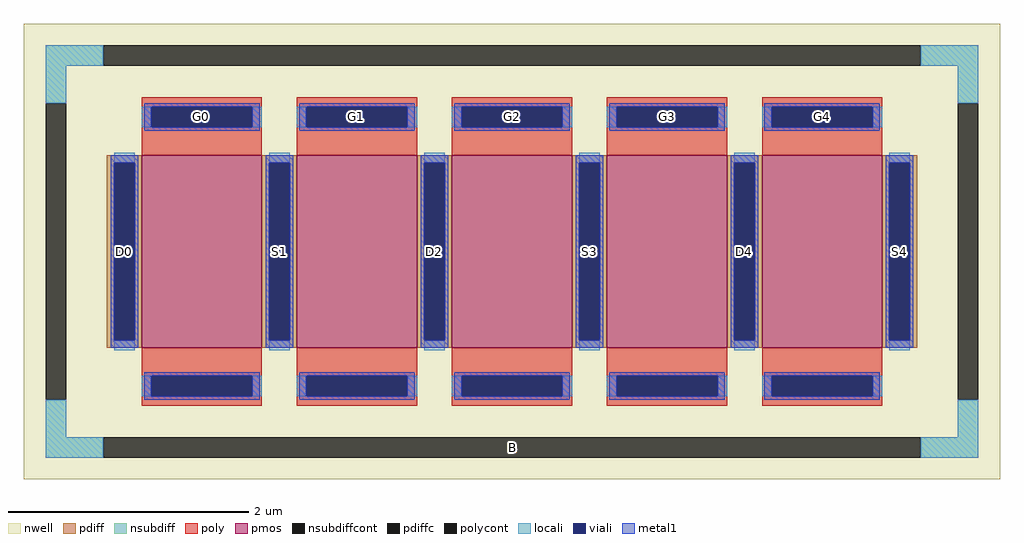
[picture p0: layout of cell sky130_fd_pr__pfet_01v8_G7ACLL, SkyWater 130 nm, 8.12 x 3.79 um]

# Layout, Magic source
magic
tech sky130A
magscale 1 2
<< nwell >>
rect -812 -379 812 379
<< pmos >>
rect -616 -160 -416 160
rect -358 -160 -158 160
rect -100 -160 100 160
rect 158 -160 358 160
rect 416 -160 616 160
<< pdiff >>
rect -674 148 -616 160
rect -674 -148 -662 148
rect -628 -148 -616 148
rect -674 -160 -616 -148
rect -416 148 -358 160
rect -416 -148 -404 148
rect -370 -148 -358 148
rect -416 -160 -358 -148
rect -158 148 -100 160
rect -158 -148 -146 148
rect -112 -148 -100 148
rect -158 -160 -100 -148
rect 100 148 158 160
rect 100 -148 112 148
rect 146 -148 158 148
rect 100 -160 158 -148
rect 358 148 416 160
rect 358 -148 370 148
rect 404 -148 416 148
rect 358 -160 416 -148
rect 616 148 674 160
rect 616 -148 628 148
rect 662 -148 674 148
rect 616 -160 674 -148
<< pdiffc >>
rect -662 -148 -628 148
rect -404 -148 -370 148
rect -146 -148 -112 148
rect 112 -148 146 148
rect 370 -148 404 148
rect 628 -148 662 148
<< nsubdiff >>
rect -776 309 -680 343
rect 680 309 776 343
rect -776 247 -742 309
rect 742 247 776 309
rect -776 -309 -742 -247
rect 742 -309 776 -247
rect -776 -343 -680 -309
rect 680 -343 776 -309
<< nsubdiffcont >>
rect -680 309 680 343
rect -776 -247 -742 247
rect 742 -247 776 247
rect -680 -343 680 -309
<< poly >>
rect -616 241 -416 257
rect -616 207 -600 241
rect -432 207 -416 241
rect -616 160 -416 207
rect -358 241 -158 257
rect -358 207 -342 241
rect -174 207 -158 241
rect -358 160 -158 207
rect -100 241 100 257
rect -100 207 -84 241
rect 84 207 100 241
rect -100 160 100 207
rect 158 241 358 257
rect 158 207 174 241
rect 342 207 358 241
rect 158 160 358 207
rect 416 241 616 257
rect 416 207 432 241
rect 600 207 616 241
rect 416 160 616 207
rect -616 -207 -416 -160
rect -616 -241 -600 -207
rect -432 -241 -416 -207
rect -616 -257 -416 -241
rect -358 -207 -158 -160
rect -358 -241 -342 -207
rect -174 -241 -158 -207
rect -358 -257 -158 -241
rect -100 -207 100 -160
rect -100 -241 -84 -207
rect 84 -241 100 -207
rect -100 -257 100 -241
rect 158 -207 358 -160
rect 158 -241 174 -207
rect 342 -241 358 -207
rect 158 -257 358 -241
rect 416 -207 616 -160
rect 416 -241 432 -207
rect 600 -241 616 -207
rect 416 -257 616 -241
<< polycont >>
rect -600 207 -432 241
rect -342 207 -174 241
rect -84 207 84 241
rect 174 207 342 241
rect 432 207 600 241
rect -600 -241 -432 -207
rect -342 -241 -174 -207
rect -84 -241 84 -207
rect 174 -241 342 -207
rect 432 -241 600 -207
<< locali >>
rect -776 309 -680 343
rect 680 309 776 343
rect -776 247 -742 309
rect 742 247 776 309
rect -616 207 -600 241
rect -432 207 -416 241
rect -358 207 -342 241
rect -174 207 -158 241
rect -100 207 -84 241
rect 84 207 100 241
rect 158 207 174 241
rect 342 207 358 241
rect 416 207 432 241
rect 600 207 616 241
rect -662 148 -628 164
rect -662 -164 -628 -148
rect -404 148 -370 164
rect -404 -164 -370 -148
rect -146 148 -112 164
rect -146 -164 -112 -148
rect 112 148 146 164
rect 112 -164 146 -148
rect 370 148 404 164
rect 370 -164 404 -148
rect 628 148 662 164
rect 628 -164 662 -148
rect -616 -241 -600 -207
rect -432 -241 -416 -207
rect -358 -241 -342 -207
rect -174 -241 -158 -207
rect -100 -241 -84 -207
rect 84 -241 100 -207
rect 158 -241 174 -207
rect 342 -241 358 -207
rect 416 -241 432 -207
rect 600 -241 616 -207
rect -776 -309 -742 -247
rect 742 -309 776 -247
rect -776 -343 -680 -309
rect 680 -343 776 -309
<< viali >>
rect -600 207 -432 241
rect -342 207 -174 241
rect -84 207 84 241
rect 174 207 342 241
rect 432 207 600 241
rect -662 -148 -628 148
rect -404 -148 -370 148
rect -146 -148 -112 148
rect 112 -148 146 148
rect 370 -148 404 148
rect 628 -148 662 148
rect -600 -241 -432 -207
rect -342 -241 -174 -207
rect -84 -241 84 -207
rect 174 -241 342 -207
rect 432 -241 600 -207
<< metal1 >>
rect -612 241 -420 247
rect -612 207 -600 241
rect -432 207 -420 241
rect -612 201 -420 207
rect -354 241 -162 247
rect -354 207 -342 241
rect -174 207 -162 241
rect -354 201 -162 207
rect -96 241 96 247
rect -96 207 -84 241
rect 84 207 96 241
rect -96 201 96 207
rect 162 241 354 247
rect 162 207 174 241
rect 342 207 354 241
rect 162 201 354 207
rect 420 241 612 247
rect 420 207 432 241
rect 600 207 612 241
rect 420 201 612 207
rect -668 148 -622 160
rect -668 -148 -662 148
rect -628 -148 -622 148
rect -668 -160 -622 -148
rect -410 148 -364 160
rect -410 -148 -404 148
rect -370 -148 -364 148
rect -410 -160 -364 -148
rect -152 148 -106 160
rect -152 -148 -146 148
rect -112 -148 -106 148
rect -152 -160 -106 -148
rect 106 148 152 160
rect 106 -148 112 148
rect 146 -148 152 148
rect 106 -160 152 -148
rect 364 148 410 160
rect 364 -148 370 148
rect 404 -148 410 148
rect 364 -160 410 -148
rect 622 148 668 160
rect 622 -148 628 148
rect 662 -148 668 148
rect 622 -160 668 -148
rect -612 -207 -420 -201
rect -612 -241 -600 -207
rect -432 -241 -420 -207
rect -612 -247 -420 -241
rect -354 -207 -162 -201
rect -354 -241 -342 -207
rect -174 -241 -162 -207
rect -354 -247 -162 -241
rect -96 -207 96 -201
rect -96 -241 -84 -207
rect 84 -241 96 -207
rect -96 -247 96 -241
rect 162 -207 354 -201
rect 162 -241 174 -207
rect 342 -241 354 -207
rect 162 -247 354 -241
rect 420 -207 612 -201
rect 420 -241 432 -207
rect 600 -241 612 -207
rect 420 -247 612 -241
<< labels >>
rlabel nsubdiffcont 0 -326 0 -326 0 B
port 1 nsew
rlabel pdiffc -645 0 -645 0 0 D0
port 2 nsew
rlabel polycont -516 224 -516 224 0 G0
port 3 nsew
rlabel pdiffc -387 0 -387 0 0 S1
port 4 nsew
rlabel polycont -258 224 -258 224 0 G1
port 5 nsew
rlabel pdiffc -129 0 -129 0 0 D2
port 6 nsew
rlabel polycont 0 224 0 224 0 G2
port 7 nsew
rlabel pdiffc 129 0 129 0 0 S3
port 8 nsew
rlabel polycont 258 224 258 224 0 G3
port 9 nsew
rlabel pdiffc 387 0 387 0 0 D4
port 10 nsew
rlabel pdiffc 645 0 645 0 0 S4
port 11 nsew
rlabel polycont 516 224 516 224 0 G4
port 12 nsew
<< properties >>
string FIXED_BBOX -759 -326 759 326
string gencell sky130_fd_pr__pfet_01v8
string library sky130
string parameters w 1.6 l 1.0 m 1 nf 5 diffcov 100 polycov 100 guard 1 glc 1 grc 1 gtc 1 gbc 1 tbcov 100 rlcov 100 topc 1 botc 1 poverlap 0 doverlap 1 lmin 0.15 wmin 0.42 class mosfet compatible {sky130_fd_pr__pfet_01v8  sky130_fd_pr__pfet_01v8_lvt sky130_fd_pr__pfet_01v8_hvt  sky130_fd_pr__pfet_g5v0d10v5} full_metal 1 conn_gates 0 viasrc 100 viadrn 100 viagate 100 viagb 0 viagr 0 viagl 0 viagt 0 doports 1 ad 1.392 as 1.392 pd 11.34 ps 11.34 nrd 0.03625 nrs 0.03625 sa 0 sb 0 sd 0 mult 1
<< end >>
